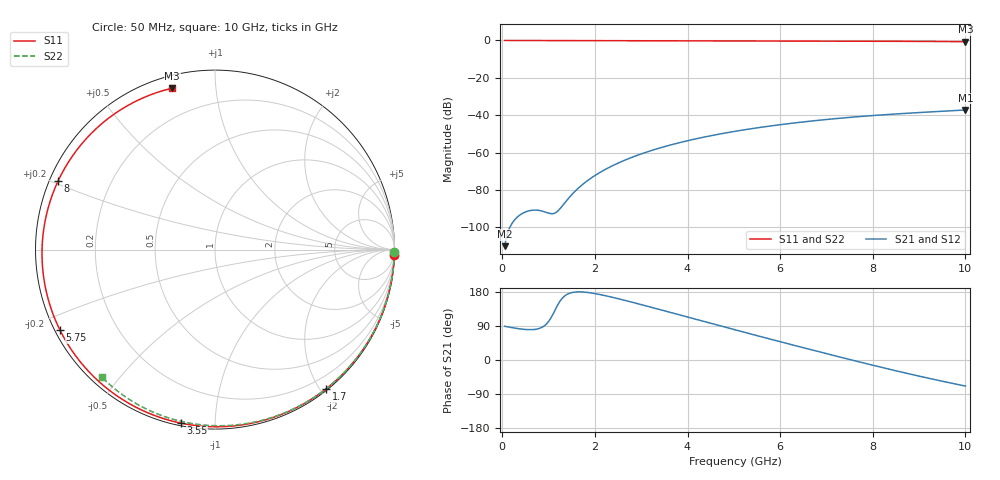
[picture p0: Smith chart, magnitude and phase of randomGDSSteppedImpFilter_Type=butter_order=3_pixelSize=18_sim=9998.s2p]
! freq	dB(S11)	phase(S11)	dB(S12)	phase(S12)
!  dB(S21)	phase(S21)	dB(S22)	phase(S22)
!S-par simulation data
#  GHz  S  DB  R 50
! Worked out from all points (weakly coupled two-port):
!   200 points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, 50 MHz to 10 GHz, reference 50 ohm
!   highest |S21| = -37.18 dB at 10 GHz (marker M1); lowest = -110.0 dB at 50 MHz (marker M2)
!   lowest |S11| = -0.6 dB at 10 GHz (marker M3), VSWR 27.71, Z = 2.87 + j38.4 ohm
!   |S11| at or under -10 dB: nowhere
!   |S22| runs from -0.4 to 0.0 dB; largest |S21 - S12| = 0
!   S11 on the Smith chart (normalised r, x): 50 MHz: 0, -73; 1.7 GHz: 0.02, -2.08; 3.55 GHz: 0.01, -0.82; 5.75 GHz: 0.01, -0.24; 8 GHz: 0.02, +0.21; 10 GHz: 0.06, +0.77
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0.05  -0.00 -1.6  -110.02 89.0  -110.02 89.0  -0.00 -0.8
0.4  -0.02 -12.4  -93.00 81.8  -93.00 81.8  -0.01 -6.1
0.8  -0.03 -24.7  -90.92 83.3  -90.92 83.3  -0.02 -12.1
1.2  -0.05 -36.7  -91.20 146.1  -91.20 146.1  -0.02 -18.1
1.6  -0.06 -48.5  -79.94 179.6  -79.94 179.6  -0.03 -24.1
1.7  -0.06 -51.4  -77.71 179.7  -77.71 179.7  -0.03 -25.5
1.75  -0.07 -52.9  -76.68 179.4  -76.68 179.4  -0.03 -26.3
2.05  -0.08 -61.4  -71.46 174.1  -71.46 174.1  -0.04 -30.7
2.45  -0.09 -72.5  -66.17 163.3  -66.17 163.3  -0.05 -36.5
2.9  -0.11 -84.6  -61.56 149.4  -61.56 149.4  -0.06 -42.9
3.4  -0.12 -97.4  -57.51 133.2  -57.51 133.2  -0.07 -50.0
3.55  -0.13 -101.2  -56.45 128.2  -56.45 128.2  -0.07 -52.1
4.25  -0.16 -118.2  -52.23 105.1  -52.23 105.1  -0.09 -61.7
5.05  -0.19 -136.8  -48.49 78.8  -48.49 78.8  -0.11 -72.4
5.75  -0.24 -152.6  -45.87 56.2  -45.87 56.2  -0.14 -81.4
6.25  -0.27 -163.7  -44.28 40.3  -44.28 40.3  -0.16 -87.7
6.7  -0.30 -173.8  -43.02 26.2  -43.02 26.2  -0.18 -93.3
7.35  -0.35 171.5  -41.46 6.0  -41.46 6.0  -0.22 -101.1
8  -0.41 156.4  -40.15 -13.8  -40.15 -13.8  -0.26 -108.8
8.35  -0.44 148.0  -39.55 -24.1  -39.55 -24.1  -0.29 -112.9
9.25  -0.53 125.3  -38.21 -49.4  -38.21 -49.4  -0.37 -123.2
10  -0.63 104.9  -37.18 -68.7  -37.18 -68.7  -0.45 -131.7
